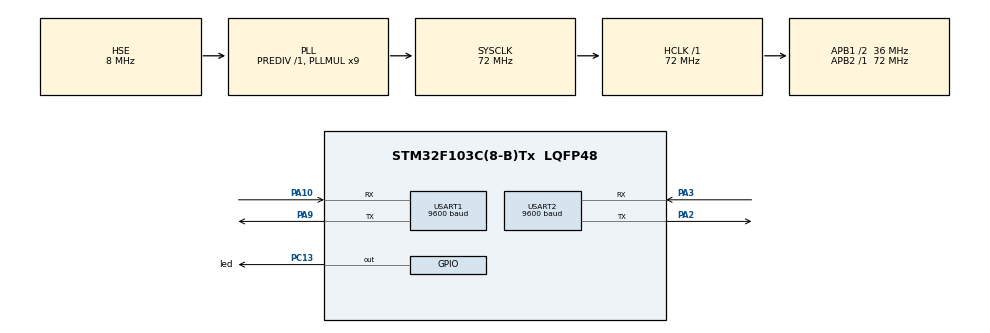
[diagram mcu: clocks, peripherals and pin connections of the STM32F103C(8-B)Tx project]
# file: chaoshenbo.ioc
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Mcu.Family=STM32F1
Mcu.Name=STM32F103C(8-B)Tx
Mcu.Package=LQFP48
NVIC.PriorityGroup=NVIC_PRIORITYGROUP_4
NVIC.USART1_IRQn=true\:0\:0\:false\:false\:true\:true\:true\:true
NVIC.USART2_IRQn=true\:0\:0\:false\:false\:true\:true\:true\:true
PA10.Mode=Asynchronous
PA10.Signal=USART1_RX
PA13.Mode=Serial_Wire
PA13.Signal=SYS_JTMS-SWDIO
PA14.Mode=Serial_Wire
PA14.Signal=SYS_JTCK-SWCLK
PA2.Mode=Asynchronous
PA2.Signal=USART2_TX
PA3.Mode=Asynchronous
PA3.Signal=USART2_RX
PA9.Mode=Asynchronous
PA9.Signal=USART1_TX
PC13-TAMPER-RTC.GPIO_Label=led
PC13-TAMPER-RTC.Signal=GPIO_Output
PC14-OSC32_IN.Mode=LSE-External-Oscillator
PC14-OSC32_IN.Signal=RCC_OSC32_IN
PC15-OSC32_OUT.Mode=LSE-External-Oscillator
PC15-OSC32_OUT.Signal=RCC_OSC32_OUT
PD0-OSC_IN.Mode=HSE-External-Oscillator
PD0-OSC_IN.Signal=RCC_OSC_IN
PD1-OSC_OUT.Mode=HSE-External-Oscillator
PD1-OSC_OUT.Signal=RCC_OSC_OUT
ProjectManager.HeapSize=0x200
ProjectManager.StackSize=0x400
ProjectManager.TargetToolchain=CMake
RCC.AHBFreq_Value=72000000
RCC.APB1CLKDivider=RCC_HCLK_DIV2
RCC.APB1Freq_Value=36000000
RCC.APB1TimFreq_Value=72000000
RCC.APB2Freq_Value=72000000
RCC.APB2TimFreq_Value=72000000
RCC.HCLKFreq_Value=72000000
RCC.PLLMUL=RCC_PLL_MUL9
RCC.PLLSourceVirtual=RCC_PLLSOURCE_HSE
RCC.SYSCLKFreq_VALUE=72000000
RCC.SYSCLKSource=RCC_SYSCLKSOURCE_PLLCLK
RCC.USBFreq_Value=72000000
USART1.BaudRate=9600
USART1.VirtualMode=VM_ASYNC
USART2.BaudRate=9600
USART2.VirtualMode=VM_ASYNC
board=custom

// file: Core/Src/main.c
/* USER CODE BEGIN Header */
/**
  ******************************************************************************
  * @file           : main.c
  * @brief          : Main program body
  ******************************************************************************
  * @attention
  *
  * Copyright (c) 2026 STMicroelectronics.
  * All rights reserved.
  *
  * This software is licensed under terms that can be found in the LICENSE file
  * in the root directory of this software component.
  * If no LICENSE file comes with this software, it is provided AS-IS.
  *
  ******************************************************************************
  */
/* USER CODE END Header */
#include "main.h"

/* USER CODE BEGIN Includes */
#include "ultrasonic.h"
#include <stdio.h>
/* USER CODE END Includes */

UART_HandleTypeDef huart1;
UART_HandleTypeDef huart2;

/* USER CODE BEGIN PV */
static uint8_t  ultra_rx_byte;   /* USART1 单字节接收缓冲 */
static char     u2_tx_buf[32];   /* USART2 发送缓冲 */
static uint32_t led_tick = 0;    /* LED闪烁计数器 */
/* USER CODE END PV */

void SystemClock_Config(void);
static void MX_GPIO_Init(void);
static void MX_USART1_UART_Init(void);
static void MX_USART2_UART_Init(void);

/* USER CODE BEGIN 0 */

/**
  * @brief  UART接收完成回调 (HAL库中断方式)
  */
void HAL_UART_RxCpltCallback(UART_HandleTypeDef *huart)
{
    if (huart->Instance == USART1) {
        /* 超声波传感器: 逐字节解析 */
        Ultrasonic_ParseByte(ultra_rx_byte);
        /* 继续下一次接收 */
        HAL_UART_Receive_IT(&huart1, &ultra_rx_byte, 1);
    }
}

/* USER CODE END 0 */

int main(void)
{

  /* MCU Configuration--------------------------------------------------------*/

  /* Reset of all peripherals, Initializes the Flash interface and the Systick. */
  HAL_Init();

  /* Configure the system clock */
  SystemClock_Config();

  /* Initialize all configured peripherals */
  MX_GPIO_Init();
  MX_USART1_UART_Init();
  MX_USART2_UART_Init();
  /* USER CODE BEGIN 2 */

  /* 初始化超声波传感器 */
  Ultrasonic_Init();
  /* 启动USART1单字节中断接收 (传感器数据) */
  HAL_UART_Receive_IT(&huart1, &ultra_rx_byte, 1);

  /* USER CODE END 2 */

  /* Infinite loop */
  while (1)
  {

    /* USER CODE BEGIN 3 */

    /* ---- 发送触发字节 (串口任意数据即可触发测距) ---- */
    uint8_t trigger = 0x00;
    HAL_UART_Transmit(&huart1, &trigger, 1, 10);

    /* 等待传感器响应 (触发后45~60ms输出一帧数据) */
    HAL_Delay(60);

    /* 检查是否有新的超声波数据 */
    if (g_ultra.data_ready) {
      uint16_t dist = Ultrasonic_GetDistance();

      /* 通过USART2输出距离 (格式: "Dist: XXXX mm\r\n") */
      int len = snprintf(u2_tx_buf, sizeof(u2_tx_buf),
                         "Dist: %u mm\r\n", dist);
      HAL_UART_Transmit(&huart2, (uint8_t *)u2_tx_buf, len, 100);
    }

    /* ---- LED闪烁: 约500ms翻转一次 (5周期 × 100ms) ---- */
    led_tick++;
    if (led_tick >= 5) {
      led_tick = 0;
      HAL_GPIO_TogglePin(led_GPIO_Port, led_Pin);
    }

    /* 保证触发间隔 > 70ms (60ms等待 + 40ms缓冲 = 100ms周期) */
    HAL_Delay(40);
  }
  /* USER CODE END 3 */
}

void SystemClock_Config(void)
{
  RCC_OscInitTypeDef RCC_OscInitStruct = {0};
  RCC_ClkInitTypeDef RCC_ClkInitStruct = {0};

  /** Initializes the RCC Oscillators according to the specified parameters
  * in the RCC_OscInitTypeDef structure.
  */
  RCC_OscInitStruct.OscillatorType = RCC_OSCILLATORTYPE_HSE;
  RCC_OscInitStruct.HSEState = RCC_HSE_ON;
  RCC_OscInitStruct.HSEPredivValue = RCC_HSE_PREDIV_DIV1;
  RCC_OscInitStruct.HSIState = RCC_HSI_ON;
  RCC_OscInitStruct.PLL.PLLState = RCC_PLL_ON;
  RCC_OscInitStruct.PLL.PLLSource = RCC_PLLSOURCE_HSE;
  RCC_OscInitStruct.PLL.PLLMUL = RCC_PLL_MUL9;
  if (HAL_RCC_OscConfig(&RCC_OscInitStruct) != HAL_OK)
  {
    Error_Handler();
  }

  /** Initializes the CPU, AHB and APB buses clocks
  */
  RCC_ClkInitStruct.ClockType = RCC_CLOCKTYPE_HCLK|RCC_CLOCKTYPE_SYSCLK
                              |RCC_CLOCKTYPE_PCLK1|RCC_CLOCKTYPE_PCLK2;
  RCC_ClkInitStruct.SYSCLKSource = RCC_SYSCLKSOURCE_PLLCLK;
  RCC_ClkInitStruct.AHBCLKDivider = RCC_SYSCLK_DIV1;
  RCC_ClkInitStruct.APB1CLKDivider = RCC_HCLK_DIV2;
  RCC_ClkInitStruct.APB2CLKDivider = RCC_HCLK_DIV1;

  if (HAL_RCC_ClockConfig(&RCC_ClkInitStruct, FLASH_LATENCY_2) != HAL_OK)
  {
    Error_Handler();
  }
}

static void MX_USART1_UART_Init(void)
{

  huart1.Instance = USART1;
  huart1.Init.BaudRate = 9600;
  huart1.Init.WordLength = UART_WORDLENGTH_8B;
  huart1.Init.StopBits = UART_STOPBITS_1;
  huart1.Init.Parity = UART_PARITY_NONE;
  huart1.Init.Mode = UART_MODE_TX_RX;
  huart1.Init.HwFlowCtl = UART_HWCONTROL_NONE;
  huart1.Init.OverSampling = UART_OVERSAMPLING_16;
  if (HAL_UART_Init(&huart1) != HAL_OK)
  {
    Error_Handler();
  }

}

static void MX_USART2_UART_Init(void)
{

  huart2.Instance = USART2;
  huart2.Init.BaudRate = 9600;
  huart2.Init.WordLength = UART_WORDLENGTH_8B;
  huart2.Init.StopBits = UART_STOPBITS_1;
  huart2.Init.Parity = UART_PARITY_NONE;
  huart2.Init.Mode = UART_MODE_TX_RX;
  huart2.Init.HwFlowCtl = UART_HWCONTROL_NONE;
  huart2.Init.OverSampling = UART_OVERSAMPLING_16;
  if (HAL_UART_Init(&huart2) != HAL_OK)
  {
    Error_Handler();
  }

}

static void MX_GPIO_Init(void)
{
  GPIO_InitTypeDef GPIO_InitStruct = {0};

  /* GPIO Ports Clock Enable */
  __HAL_RCC_GPIOC_CLK_ENABLE();
  __HAL_RCC_GPIOD_CLK_ENABLE();
  __HAL_RCC_GPIOA_CLK_ENABLE();

  /*Configure GPIO pin Output Level */
  HAL_GPIO_WritePin(led_GPIO_Port, led_Pin, GPIO_PIN_RESET);

  /*Configure GPIO pin : led_Pin */
  GPIO_InitStruct.Pin = led_Pin;
  GPIO_InitStruct.Mode = GPIO_MODE_OUTPUT_PP;
  GPIO_InitStruct.Pull = GPIO_NOPULL;
  GPIO_InitStruct.Speed = GPIO_SPEED_FREQ_LOW;
  HAL_GPIO_Init(led_GPIO_Port, &GPIO_InitStruct);

}

void Error_Handler(void)
{
  __disable_irq();
  while (1)
  {
  }
}
